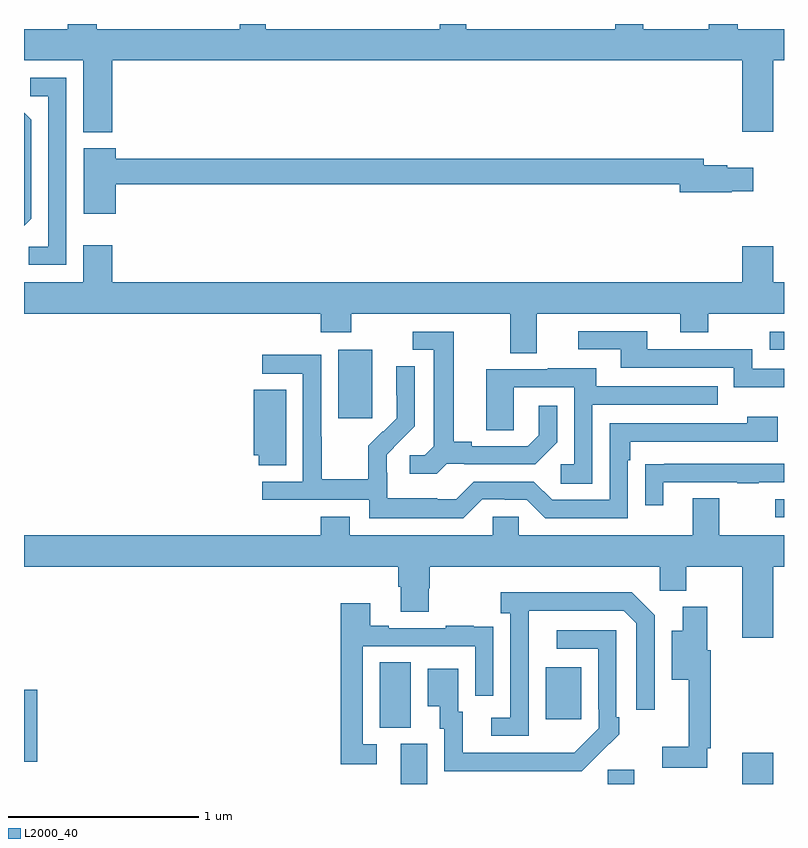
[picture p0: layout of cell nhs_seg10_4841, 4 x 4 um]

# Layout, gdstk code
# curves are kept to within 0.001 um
import gdstk
lib = gdstk.Library(unit=1e-6, precision=1e-09)
def R(c, l, rs):  # rectangles x0, y0, x1, y1
    for r in rs: c.add(gdstk.rectangle(r[:2], r[2:], *l))
def P(c, l, *ps):  # polygons
    for p in ps: c.add(gdstk.Polygon(p, *l))
L2000_40 = (2000, 40)

nhs_seg10_4841 = lib.new_cell('nhs_seg10_4841')
R(nhs_seg10_4841, L2000_40, [(390.983,1304.5,391.123,1304.712), (392.073,1304.5,392.212,1304.574), (392.78,1304.5,392.944,1304.665), (389,1304.616,389.069,1304.997), (390.872,1304.797,391.036,1305.14), (391.745,1304.841,391.933,1305.115), (392.955,1305.903,393,1305.999), (390.653,1306.425,390.832,1306.786), (392.925,1306.785,393,1306.881)])
P(nhs_seg10_4841, L2000_40, [(389.465,1308.308),(392.78,1308.308),(392.78,1307.934),(392.944,1307.934),(392.944,1308.308),(393,1308.308),(393,1308.472),(392.756,1308.472),(392.756,1308.5),(392.603,1308.5),(392.603,1308.472),(392.259,1308.472),(392.259,1308.5),(392.111,1308.5),(392.111,1308.472),(391.327,1308.472),(391.327,1308.5),(391.187,1308.5),(391.187,1308.472),(390.273,1308.472),(390.273,1308.5),(390.135,1308.5),(390.135,1308.472),(389.383,1308.472),(389.383,1308.5),(389.231,1308.5),(389.231,1308.472),(389,1308.472),(389,1308.308),(389.312,1308.308),(389.312,1307.93),(389.465,1307.93)],
  [(389.223,1308.216),(389.032,1308.216),(389.032,1308.121),(389.127,1308.121),(389.127,1307.328),(389.025,1307.328),(389.025,1307.232),(389.223,1307.232)],
  [(389.037,1307.474),(389.037,1307.996),(389,1308.033),(389,1307.437)],
  [(389.482,1307.656),(392.45,1307.656),(392.45,1307.614),(392.726,1307.614),(392.726,1307.621),(392.839,1307.621),(392.839,1307.743),(392.7,1307.743),(392.7,1307.756),(392.578,1307.756),(392.578,1307.792),(389.482,1307.792),(389.482,1307.845),(389.315,1307.845),(389.315,1307.502),(389.482,1307.502)],
  [(391.699,1306.976),(392.453,1306.976),(392.453,1306.877),(392.601,1306.877),(392.601,1306.976),(393,1306.976),(393,1307.14),(392.944,1307.14),(392.944,1307.329),(392.78,1307.329),(392.78,1307.14),(389.465,1307.14),(389.465,1307.335),(389.312,1307.335),(389.312,1307.14),(389,1307.14),(389,1306.976),(390.563,1306.976),(390.563,1306.877),(390.723,1306.877),(390.723,1306.976),(391.559,1306.976),(391.559,1306.768),(391.699,1306.768)],
  [(393,1306.686),(392.832,1306.686),(392.832,1306.788),(392.281,1306.788),(392.281,1306.884),(391.917,1306.884),(391.917,1306.788),(392.141,1306.788),(392.141,1306.692),(392.736,1306.692),(392.736,1306.589),(393,1306.589)],
  [(391.224,1306.185),(391.318,1306.185),(391.318,1306.182),(391.69,1306.182),(391.806,1306.298),(391.806,1306.492),(391.709,1306.492),(391.709,1306.335),(391.652,1306.278),(391.357,1306.278),(391.357,1306.301),(391.261,1306.301),(391.261,1306.881),(391.047,1306.881),(391.047,1306.785),(391.157,1306.785),(391.157,1306.277),(391.11,1306.23),(391.029,1306.23),(391.029,1306.133),(391.172,1306.133)],
  [(391.413,1305.999),(391.529,1305.999),(391.529,1305.996),(391.647,1305.996),(391.743,1305.9),(392.178,1305.9),(392.178,1306.205),(392.191,1306.205),(392.191,1306.302),(392.968,1306.302),(392.968,1306.432),(392.807,1306.432),(392.807,1306.398),(392.082,1306.398),(392.082,1305.996),(391.779,1305.996),(391.683,1306.092),(391.368,1306.092),(391.275,1305.999),(391.175,1305.999),(391.175,1306.003),(390.912,1306.003),(390.912,1306.137),(390.91,1306.137),(390.91,1306.234),(391.056,1306.382),(391.056,1306.7),(390.96,1306.7),(390.96,1306.546),(390.962,1306.546),(390.962,1306.424),(390.891,1306.353),(390.888,1306.356),(390.811,1306.279),(390.811,1306.105),(390.567,1306.105),(390.567,1306.328),(390.564,1306.328),(390.564,1306.758),(390.255,1306.758),(390.255,1306.659),(390.468,1306.659),(390.468,1306.092),(390.255,1306.092),(390.255,1305.996),(390.816,1305.996),(390.816,1305.899),(391.313,1305.899)],
  [(391.992,1306.497),(392.651,1306.497),(392.651,1306.593),(392.011,1306.593),(392.011,1306.687),(391.757,1306.687),(391.757,1306.683),(391.433,1306.683),(391.433,1306.363),(391.578,1306.363),(391.578,1306.587),(391.896,1306.587),(391.896,1306.182),(391.824,1306.182),(391.824,1306.081),(391.992,1306.081)],
  [(390.379,1306.574),(390.209,1306.574),(390.209,1306.23),(390.236,1306.23),(390.236,1306.177),(390.379,1306.177)],
  [(392.365,1306.089),(392.755,1306.089),(392.755,1306.084),(392.867,1306.084),(392.867,1306.089),(393,1306.089),(393,1306.185),(392.371,1306.185),(392.371,1306.184),(392.269,1306.184),(392.269,1305.966),(392.365,1305.966)],
  [(392.944,1305.644),(393,1305.644),(393,1305.808),(392.659,1305.808),(392.659,1306.003),(392.519,1306.003),(392.519,1305.808),(391.605,1305.808),(391.605,1305.906),(391.467,1305.906),(391.467,1305.808),(390.715,1305.808),(390.715,1305.907),(390.563,1305.907),(390.563,1305.808),(389,1305.808),(389,1305.644),(390.971,1305.644),(390.971,1305.538),(390.983,1305.538),(390.983,1305.406),(391.131,1305.406),(391.131,1305.531),(391.136,1305.531),(391.136,1305.644),(392.346,1305.644),(392.346,1305.518),(392.485,1305.518),(392.485,1305.644),(392.78,1305.644),(392.78,1305.27),(392.944,1305.27)],
  [(391.656,1305.211),(391.657,1305.411),(392.157,1305.411),(392.223,1305.345),(392.223,1304.892),(392.319,1304.892),(392.319,1305.387),(392.198,1305.508),(391.509,1305.508),(391.509,1305.398),(391.56,1305.398),(391.56,1304.85),(391.458,1304.85),(391.458,1304.754),(391.656,1304.754)],
  [(390.856,1304.709),(390.783,1304.709),(390.783,1305.225),(391.374,1305.225),(391.374,1304.964),(391.47,1304.964),(391.47,1305.218),(391.469,1305.218),(391.469,1305.327),(391.367,1305.327),(391.367,1305.334),(391.219,1305.334),(391.219,1305.321),(390.919,1305.321),(390.919,1305.334),(390.823,1305.334),(390.823,1305.451),(390.667,1305.451),(390.667,1304.604),(390.856,1304.604)],
  [(392.597,1304.689),(392.615,1304.689),(392.615,1305.203),(392.596,1305.203),(392.596,1305.433),(392.468,1305.433),(392.468,1305.307),(392.408,1305.307),(392.408,1305.05),(392.498,1305.05),(392.498,1304.695),(392.358,1304.695),(392.358,1304.586),(392.597,1304.586)],
  [(392.027,1304.659),(392.028,1304.658),(392.133,1304.763),(392.133,1304.851),(392.118,1304.851),(392.118,1305.309),(391.803,1305.309),(391.803,1305.213),(392.022,1305.213),(392.022,1304.893),(392.025,1304.893),(392.025,1304.793),(391.897,1304.665),(391.309,1304.664),(391.309,1304.88),(391.285,1304.88),(391.285,1305.106),(391.124,1305.106),(391.124,1304.909),(391.187,1304.909),(391.187,1304.79),(391.212,1304.79),(391.212,1304.568),(391.936,1304.568)])

lib.write_gds('nhs_seg10_4841.gds')
